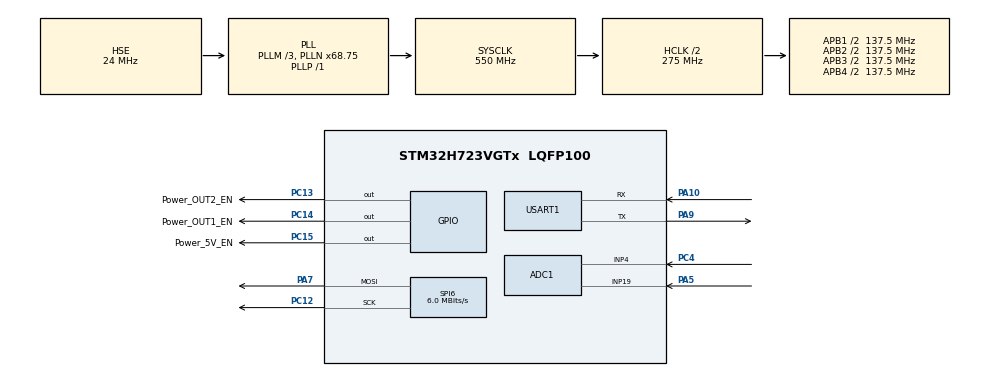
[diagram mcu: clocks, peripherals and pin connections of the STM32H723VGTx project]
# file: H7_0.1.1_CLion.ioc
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ADC1.Channel-0\#ChannelRegularConversion=ADC_CHANNEL_4
ADC1.Channel-1\#ChannelRegularConversion=ADC_CHANNEL_19
ADC1.ClockPrescaler=ADC_CLOCK_ASYNC_DIV64
ADC1.ContinuousConvMode=ENABLE
ADC1.ConversionDataManagement=ADC_CONVERSIONDATA_DMA_CIRCULAR
ADC1.NbrOfConversion=2
ADC1.NbrOfConversionFlag=1
ADC1.OffsetNumber-0\#ChannelRegularConversion=ADC_OFFSET_NONE
ADC1.OffsetNumber-1\#ChannelRegularConversion=ADC_OFFSET_NONE
ADC1.OffsetSignedSaturation-0\#ChannelRegularConversion=DISABLE
ADC1.OffsetSignedSaturation-1\#ChannelRegularConversion=DISABLE
ADC1.Rank-0\#ChannelRegularConversion=1
ADC1.Rank-1\#ChannelRegularConversion=2
ADC1.SamplingTime-0\#ChannelRegularConversion=ADC_SAMPLETIME_32CYCLES_5
ADC1.SamplingTime-1\#ChannelRegularConversion=ADC_SAMPLETIME_32CYCLES_5
ADC1.master=1
Bdma.Request0=SPI6_TX
Bdma.RequestsNb=1
Bdma.SPI6_TX.0.Direction=DMA_MEMORY_TO_PERIPH
Bdma.SPI6_TX.0.EventEnable=DISABLE
Bdma.SPI6_TX.0.Instance=BDMA_Channel0
Bdma.SPI6_TX.0.MemDataAlignment=DMA_MDATAALIGN_BYTE
Bdma.SPI6_TX.0.MemInc=DMA_MINC_ENABLE
Bdma.SPI6_TX.0.Mode=DMA_NORMAL
Bdma.SPI6_TX.0.PeriphDataAlignment=DMA_PDATAALIGN_BYTE
Bdma.SPI6_TX.0.PeriphInc=DMA_PINC_DISABLE
Bdma.SPI6_TX.0.Polarity=HAL_DMAMUX_REQ_GEN_RISING
Bdma.SPI6_TX.0.Priority=DMA_PRIORITY_LOW
Bdma.SPI6_TX.0.RequestNumber=1
Bdma.SPI6_TX.0.SignalID=NONE
Bdma.SPI6_TX.0.SyncEnable=DISABLE
Bdma.SPI6_TX.0.SyncPolarity=HAL_DMAMUX_SYNC_NO_EVENT
Bdma.SPI6_TX.0.SyncRequestNumber=1
Bdma.SPI6_TX.0.SyncSignalID=NONE
CORTEX_M7.CPU_ICache=Enabled
CORTEX_M7.MPU_Control=__NULL
CORTEX_M7.default_mode_Activation=1
Dma.ADC1.0.Direction=DMA_PERIPH_TO_MEMORY
Dma.ADC1.0.EventEnable=DISABLE
Dma.ADC1.0.FIFOMode=DMA_FIFOMODE_DISABLE
Dma.ADC1.0.Instance=DMA1_Stream0
Dma.ADC1.0.MemDataAlignment=DMA_MDATAALIGN_HALFWORD
Dma.ADC1.0.MemInc=DMA_MINC_ENABLE
Dma.ADC1.0.Mode=DMA_CIRCULAR
Dma.ADC1.0.PeriphDataAlignment=DMA_PDATAALIGN_HALFWORD
Dma.ADC1.0.PeriphInc=DMA_PINC_DISABLE
Dma.ADC1.0.Polarity=HAL_DMAMUX_REQ_GEN_RISING
Dma.ADC1.0.Priority=DMA_PRIORITY_LOW
Dma.ADC1.0.RequestNumber=1
Dma.ADC1.0.SignalID=NONE
Dma.ADC1.0.SyncEnable=DISABLE
Dma.ADC1.0.SyncPolarity=HAL_DMAMUX_SYNC_NO_EVENT
Dma.ADC1.0.SyncRequestNumber=1
Dma.ADC1.0.SyncSignalID=NONE
Dma.Request0=ADC1
Dma.Request1=USART1_TX
Dma.Request2=USART1_RX
Dma.USART1_RX.2.Direction=DMA_PERIPH_TO_MEMORY
Dma.USART1_RX.2.EventEnable=DISABLE
Dma.USART1_RX.2.FIFOMode=DMA_FIFOMODE_DISABLE
Dma.USART1_RX.2.Instance=DMA1_Stream2
Dma.USART1_RX.2.MemDataAlignment=DMA_MDATAALIGN_BYTE
Dma.USART1_RX.2.MemInc=DMA_MINC_ENABLE
Dma.USART1_RX.2.Mode=DMA_NORMAL
Dma.USART1_RX.2.PeriphDataAlignment=DMA_PDATAALIGN_BYTE
Dma.USART1_RX.2.PeriphInc=DMA_PINC_DISABLE
Dma.USART1_RX.2.Polarity=HAL_DMAMUX_REQ_GEN_RISING
Dma.USART1_RX.2.Priority=DMA_PRIORITY_LOW
Dma.USART1_RX.2.RequestNumber=1
Dma.USART1_RX.2.SignalID=NONE
Dma.USART1_RX.2.SyncEnable=DISABLE
Dma.USART1_RX.2.SyncPolarity=HAL_DMAMUX_SYNC_NO_EVENT
Dma.USART1_RX.2.SyncRequestNumber=1
Dma.USART1_RX.2.SyncSignalID=NONE
Dma.USART1_TX.1.Direction=DMA_MEMORY_TO_PERIPH
Dma.USART1_TX.1.EventEnable=DISABLE
Dma.USART1_TX.1.FIFOMode=DMA_FIFOMODE_DISABLE
Dma.USART1_TX.1.Instance=DMA1_Stream1
Dma.USART1_TX.1.MemDataAlignment=DMA_MDATAALIGN_BYTE
Dma.USART1_TX.1.MemInc=DMA_MINC_ENABLE
Dma.USART1_TX.1.Mode=DMA_NORMAL
Dma.USART1_TX.1.PeriphDataAlignment=DMA_PDATAALIGN_BYTE
Dma.USART1_TX.1.PeriphInc=DMA_PINC_DISABLE
Dma.USART1_TX.1.Polarity=HAL_DMAMUX_REQ_GEN_RISING
Dma.USART1_TX.1.Priority=DMA_PRIORITY_LOW
Dma.USART1_TX.1.RequestNumber=1
Dma.USART1_TX.1.SignalID=NONE
Dma.USART1_TX.1.SyncEnable=DISABLE
Dma.USART1_TX.1.SyncPolarity=HAL_DMAMUX_SYNC_NO_EVENT
Dma.USART1_TX.1.SyncRequestNumber=1
Dma.USART1_TX.1.SyncSignalID=NONE
Mcu.Family=STM32H7
Mcu.Name=STM32H723VGTx
Mcu.Package=LQFP100
NVIC.BDMA_Channel0_IRQn=true\:0\:0\:false\:false\:true\:false\:true\:true
NVIC.DMA1_Stream0_IRQn=true\:0\:0\:false\:false\:true\:false\:true\:true
NVIC.DMA1_Stream1_IRQn=true\:0\:0\:false\:false\:true\:false\:true\:true
NVIC.DMA1_Stream2_IRQn=true\:0\:0\:false\:false\:true\:false\:true\:true
NVIC.PriorityGroup=NVIC_PRIORITYGROUP_4
NVIC.SPI6_IRQn=true\:0\:0\:false\:false\:true\:false\:true\:true
NVIC.USART1_IRQn=true\:0\:0\:false\:false\:true\:true\:true\:true
PA10.Mode=Asynchronous
PA10.Signal=USART1_RX
PA13(JTMS/SWDIO).Mode=Serial_Wire
PA13(JTMS/SWDIO).Signal=DEBUG_JTMS-SWDIO
PA14(JTCK/SWCLK).Mode=Serial_Wire
PA14(JTCK/SWCLK).Signal=DEBUG_JTCK-SWCLK
PA5.Signal=ADCx_INP19
PA7.Mode=TX_Only_Simplex_Unidirect_Master
PA7.Signal=SPI6_MOSI
PA9.Mode=Asynchronous
PA9.Signal=USART1_TX
PC12.Mode=TX_Only_Simplex_Unidirect_Master
PC12.Signal=SPI6_SCK
PC13.GPIO_Label=Power_OUT2_EN
PC13.Signal=GPIO_Output
PC14-OSC32_IN.GPIO_Label=Power_OUT1_EN
PC14-OSC32_IN.Signal=GPIO_Output
PC15-OSC32_OUT.GPIO_Label=Power_5V_EN
PC15-OSC32_OUT.Signal=GPIO_Output
PC4.Signal=ADCx_INP4
PH0-OSC_IN.Mode=HSE-External-Oscillator
PH0-OSC_IN.Signal=RCC_OSC_IN
PH1-OSC_OUT.Mode=HSE-External-Oscillator
PH1-OSC_OUT.Signal=RCC_OSC_OUT
ProjectManager.HeapSize=0x200
ProjectManager.StackSize=0x400
ProjectManager.TargetToolchain=STM32CubeIDE
RCC.ADCFreq_Value=96000000
RCC.APB1Freq_Value=137500000
RCC.APB2Freq_Value=137500000
RCC.APB3Freq_Value=137500000
RCC.APB4Freq_Value=137500000
RCC.CortexFreq_Value=550000000
RCC.D1PPRE=RCC_APB3_DIV2
RCC.D2PPRE1=RCC_APB1_DIV2
RCC.D2PPRE2=RCC_APB2_DIV2
RCC.D3PPRE=RCC_APB4_DIV2
RCC.DIVM1=3
RCC.DIVM2=2
RCC.DIVN1=68
RCC.DIVN2=16
RCC.DIVP1=1
RCC.HCLKFreq_Value=275000000
RCC.HPRE=RCC_HCLK_DIV2
RCC.HSE_VALUE=24000000
RCC.PLL2FRACN=0
RCC.PLL3FRACN=0
RCC.PLLFRACN=6144
RCC.PLLSourceVirtual=RCC_PLLSOURCE_HSE
RCC.SPI6CLockSelection=RCC_SPI6CLKSOURCE_HSE
RCC.SYSCLKFreq_VALUE=550000000
RCC.SYSCLKSource=RCC_SYSCLKSOURCE_PLLCLK
RCC.USBFreq_Value=275000000
SH.ADCx_INP19.0=ADC1_INP19,IN19-Single-Ended
SH.ADCx_INP4.0=ADC1_INP4,IN4-Single-Ended
SPI6.BaudRatePrescaler=SPI_BAUDRATEPRESCALER_4
SPI6.CLKPhase=SPI_PHASE_2EDGE
SPI6.CalculateBaudRate=6.0 MBits/s
SPI6.DataSize=SPI_DATASIZE_8BIT
SPI6.Direction=SPI_DIRECTION_2LINES_TXONLY
SPI6.Mode=SPI_MODE_MASTER
SPI6.VirtualType=VM_MASTER
USART1.VirtualMode-Asynchronous=VM_ASYNC
VP_MEMORYMAP_VS_MEMORYMAP.Mode=CurAppReg
board=custom

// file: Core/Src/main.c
/* USER CODE BEGIN Header */
/**
  ******************************************************************************
  * @file           : main.c
  * @brief          : Main program body
  ******************************************************************************
  * @attention
  *
  * Copyright (c) 2026 STMicroelectronics.
  * All rights reserved.
  *
  * This software is licensed under terms that can be found in the LICENSE file
  * in the root directory of this software component.
  * If no LICENSE file comes with this software, it is provided AS-IS.
  *
  ******************************************************************************
  */
/* USER CODE END Header */
#include "main.h"
#include "adc.h"
#include "bdma.h"
#include "dma.h"
#include "spi.h"
#include "usart.h"
#include "gpio.h"

/* USER CODE BEGIN Includes */
#include <string.h>

#include "ws2812.h"
/* USER CODE END Includes */

/* USER CODE BEGIN PV */
uint8_t rx_data[256] = {0};
uint8_t r = 0;
uint8_t g = 0;
uint8_t b = 0;
/* USER CODE END PV */

void SystemClock_Config(void);

int main(void)
{

  /* Enable the CPU Cache */

  /* Enable I-Cache---------------------------------------------------------*/
  SCB_EnableICache();

  /* MCU Configuration--------------------------------------------------------*/

  /* Reset of all peripherals, Initializes the Flash interface and the Systick. */
  HAL_Init();

  /* Configure the system clock */
  SystemClock_Config();

  /* Initialize all configured peripherals */
  MX_GPIO_Init();
  MX_BDMA_Init();
  MX_DMA_Init();
  MX_SPI6_Init();
  MX_USART1_UART_Init();
  MX_ADC1_Init();
  /* USER CODE BEGIN 2 */
  HAL_UARTEx_ReceiveToIdle_DMA(&huart1, rx_data, sizeof(rx_data));
  __HAL_DMA_DISABLE_IT(huart1.hdmarx, DMA_IT_HT);
  /* USER CODE END 2 */

  /* Infinite loop */
  /* USER CODE BEGIN WHILE */
  while (1)
  {
    if (rx_data[0] == 'R') {
        if (rx_data[1] == '0') {
            r = 0;
        } else {
            r = 15;
        }
    } else if (rx_data[0] == 'G') {
        if (rx_data[1] == '0') {
            g = 0;
        } else {
            g = 15;
        }
    } else if (rx_data[0] == 'B') {
        if (rx_data[1] == '0') {
            b = 0;
        } else {
            b = 15;
        }
    }
    WS2812_Ctrl(r, g, b);
    /* USER CODE END WHILE */

  }
}

void SystemClock_Config(void)
{
  RCC_OscInitTypeDef RCC_OscInitStruct = {0};
  RCC_ClkInitTypeDef RCC_ClkInitStruct = {0};

  /** Supply configuration update enable
  */
  HAL_PWREx_ConfigSupply(PWR_LDO_SUPPLY);

  /** Configure the main internal regulator output voltage
  */
  __HAL_PWR_VOLTAGESCALING_CONFIG(PWR_REGULATOR_VOLTAGE_SCALE0);

  while(!__HAL_PWR_GET_FLAG(PWR_FLAG_VOSRDY)) {}

  /** Initializes the RCC Oscillators according to the specified parameters
  * in the RCC_OscInitTypeDef structure.
  */
  RCC_OscInitStruct.OscillatorType = RCC_OSCILLATORTYPE_HSE;
  RCC_OscInitStruct.HSEState = RCC_HSE_ON;
  RCC_OscInitStruct.PLL.PLLState = RCC_PLL_ON;
  RCC_OscInitStruct.PLL.PLLSource = RCC_PLLSOURCE_HSE;
  RCC_OscInitStruct.PLL.PLLM = 3;
  RCC_OscInitStruct.PLL.PLLN = 68;
  RCC_OscInitStruct.PLL.PLLP = 1;
  RCC_OscInitStruct.PLL.PLLQ = 2;
  RCC_OscInitStruct.PLL.PLLR = 2;
  RCC_OscInitStruct.PLL.PLLRGE = RCC_PLL1VCIRANGE_3;
  RCC_OscInitStruct.PLL.PLLVCOSEL = RCC_PLL1VCOWIDE;
  RCC_OscInitStruct.PLL.PLLFRACN = 6144;
  if (HAL_RCC_OscConfig(&RCC_OscInitStruct) != HAL_OK)
  {
    Error_Handler();
  }

  /** Initializes the CPU, AHB and APB buses clocks
  */
  RCC_ClkInitStruct.ClockType = RCC_CLOCKTYPE_HCLK|RCC_CLOCKTYPE_SYSCLK
                              |RCC_CLOCKTYPE_PCLK1|RCC_CLOCKTYPE_PCLK2
                              |RCC_CLOCKTYPE_D3PCLK1|RCC_CLOCKTYPE_D1PCLK1;
  RCC_ClkInitStruct.SYSCLKSource = RCC_SYSCLKSOURCE_PLLCLK;
  RCC_ClkInitStruct.SYSCLKDivider = RCC_SYSCLK_DIV1;
  RCC_ClkInitStruct.AHBCLKDivider = RCC_HCLK_DIV2;
  RCC_ClkInitStruct.APB3CLKDivider = RCC_APB3_DIV2;
  RCC_ClkInitStruct.APB1CLKDivider = RCC_APB1_DIV2;
  RCC_ClkInitStruct.APB2CLKDivider = RCC_APB2_DIV2;
  RCC_ClkInitStruct.APB4CLKDivider = RCC_APB4_DIV2;

  if (HAL_RCC_ClockConfig(&RCC_ClkInitStruct, FLASH_LATENCY_3) != HAL_OK)
  {
    Error_Handler();
  }
}

/* USER CODE BEGIN 4 */
void HAL_UARTEx_RxEventCallback(UART_HandleTypeDef *huart, uint16_t Size)
{
  if (huart->Instance == USART1)
  {
    HAL_UART_Transmit_DMA(&huart1, rx_data, Size);
    HAL_UARTEx_ReceiveToIdle_DMA(&huart1, rx_data, sizeof(rx_data));
    __HAL_DMA_DISABLE_IT(huart1.hdmarx, DMA_IT_HT);
  }
}
/* USER CODE END 4 */

void Error_Handler(void)
{
  __disable_irq();
  while (1)
  {
  }
}
